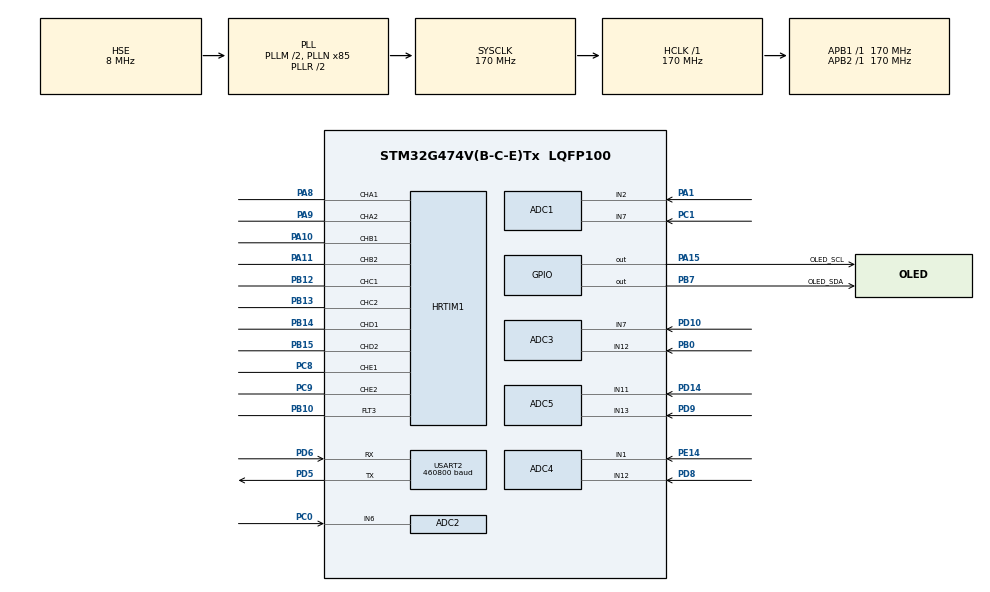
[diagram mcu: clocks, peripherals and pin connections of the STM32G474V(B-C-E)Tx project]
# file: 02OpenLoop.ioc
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ADC1.AWD1HighThreshold=4095
ADC1.AWD1ITMode=ENABLE
ADC1.AWD2HighThreshold=4095
ADC1.AWD2ITMode=ENABLE
ADC1.AWDChannel-1\#ChannelRegularConversion=ADC_CHANNEL_7
ADC1.Channel-0\#ChannelRegularConversion=ADC_CHANNEL_2
ADC1.Channel-1\#ChannelRegularConversion=ADC_CHANNEL_7
ADC1.ClockPrescaler=ADC_CLOCK_ASYNC_DIV4
ADC1.DMAContinuousRequests=ENABLE
ADC1.EOCSelection=ADC_EOC_SEQ_CONV
ADC1.EnableAnalogWatchDog1=true
ADC1.EnableAnalogWatchDog2=true
ADC1.ExternalTrigConv=ADC_EXTERNALTRIG_HRTIM_TRG1
ADC1.MonitoredBy-1\#ChannelRegularConversion=ADC_ANALOGWATCHDOG_2
ADC1.NbrOfConversion=2
ADC1.NbrOfConversionFlag=1
ADC1.OffsetNumber-0\#ChannelRegularConversion=ADC_OFFSET_NONE
ADC1.OffsetNumber-1\#ChannelRegularConversion=ADC_OFFSET_NONE
ADC1.Overrun=ADC_OVR_DATA_OVERWRITTEN
ADC1.Rank-0\#ChannelRegularConversion=1
ADC1.Rank-1\#ChannelRegularConversion=2
ADC1.RegFilteringConfig-1\#ChannelRegularConversion=ADC_AWD_FILTERING_NONE
ADC1.SamplingTime-0\#ChannelRegularConversion=ADC_SAMPLETIME_24CYCLES_5
ADC1.SamplingTime-1\#ChannelRegularConversion=ADC_SAMPLETIME_24CYCLES_5
ADC1.WDG2ChannelR2=ADC_CHANNEL_7
ADC1.WatchdogChannel=ADC_CHANNEL_2
ADC1.WatchdogMode2=ADC_ANALOGWATCHDOG_SINGLE_REGINJEC
ADC1.master=1
ADC2.AWD1HighThreshold=4095
ADC2.AWD1ITMode=ENABLE
ADC2.Channel-0\#ChannelRegularConversion=ADC_CHANNEL_6
ADC2.ClockPrescaler=ADC_CLOCK_ASYNC_DIV4
ADC2.DMAContinuousRequests=ENABLE
ADC2.EOCSelection=ADC_EOC_SEQ_CONV
ADC2.EnableAnalogWatchDog1=true
ADC2.ExternalTrigConv=ADC_EXTERNALTRIG_HRTIM_TRG1
ADC2.NbrOfConversion=1
ADC2.NbrOfConversionFlag=1
ADC2.OffsetNumber-0\#ChannelRegularConversion=ADC_OFFSET_NONE
ADC2.Overrun=ADC_OVR_DATA_OVERWRITTEN
ADC2.Rank-0\#ChannelRegularConversion=1
ADC2.SamplingTime-0\#ChannelRegularConversion=ADC_SAMPLETIME_24CYCLES_5
ADC2.WatchdogChannel=ADC_CHANNEL_6
ADC3.AWD1HighThreshold=4095
ADC3.AWD1ITMode=ENABLE
ADC3.AWD2HighThreshold=4095
ADC3.AWD2ITMode=ENABLE
ADC3.AWDChannel-2\#ChannelRegularConversion=ADC_CHANNEL_7
ADC3.Channel-0\#ChannelRegularConversion=ADC_CHANNEL_12
ADC3.Channel-2\#ChannelRegularConversion=ADC_CHANNEL_7
ADC3.ClockPrescaler=ADC_CLOCK_ASYNC_DIV4
ADC3.DMAContinuousRequests=ENABLE
ADC3.EOCSelection=ADC_EOC_SEQ_CONV
ADC3.EnableAnalogWatchDog1=true
ADC3.EnableAnalogWatchDog2=true
ADC3.ExternalTrigConv=ADC_EXTERNALTRIG_HRTIM_TRG2
ADC3.MonitoredBy-2\#ChannelRegularConversion=ADC_ANALOGWATCHDOG_2
ADC3.NbrOfConversion=2
ADC3.NbrOfConversionFlag=1
ADC3.OffsetNumber-2\#ChannelRegularConversion=ADC_OFFSET_NONE
ADC3.Overrun=ADC_OVR_DATA_OVERWRITTEN
ADC3.Rank-2\#ChannelRegularConversion=2
ADC3.RegFilteringConfig-2\#ChannelRegularConversion=ADC_AWD_FILTERING_NONE
ADC3.SamplingTime-0\#ChannelRegularConversion=ADC_SAMPLETIME_24CYCLES_5
ADC3.SamplingTime-2\#ChannelRegularConversion=ADC_SAMPLETIME_24CYCLES_5
ADC3.WDG2ChannelR2=ADC_CHANNEL_7
ADC3.WatchdogChannel=ADC_CHANNEL_12
ADC3.WatchdogMode2=ADC_ANALOGWATCHDOG_SINGLE_REGINJEC
ADC3.master=1
ADC4.AWD1HighThreshold=4095
ADC4.AWD1ITMode=ENABLE
ADC4.AWD2HighThreshold=4095
ADC4.AWD2ITMode=ENABLE
ADC4.AWDChannel-1\#ChannelRegularConversion=ADC_CHANNEL_1
ADC4.Channel-0\#ChannelRegularConversion=ADC_CHANNEL_12
ADC4.Channel-1\#ChannelRegularConversion=ADC_CHANNEL_1
ADC4.ClockPrescaler=ADC_CLOCK_ASYNC_DIV4
ADC4.DMAContinuousRequests=ENABLE
ADC4.EOCSelection=ADC_EOC_SEQ_CONV
ADC4.EnableAnalogWatchDog1=true
ADC4.EnableAnalogWatchDog2=true
ADC4.ExternalTrigConv=ADC_EXTERNALTRIG_HRTIM_TRG2
ADC4.MonitoredBy-1\#ChannelRegularConversion=ADC_ANALOGWATCHDOG_2
ADC4.NbrOfConversion=2
ADC4.NbrOfConversionFlag=1
ADC4.OffsetNumber-0\#ChannelRegularConversion=ADC_OFFSET_NONE
ADC4.OffsetNumber-1\#ChannelRegularConversion=ADC_OFFSET_NONE
ADC4.Overrun=ADC_OVR_DATA_OVERWRITTEN
ADC4.Rank-0\#ChannelRegularConversion=1
ADC4.Rank-1\#ChannelRegularConversion=2
ADC4.RegFilteringConfig-1\#ChannelRegularConversion=ADC_AWD_FILTERING_NONE
ADC4.SamplingTime-0\#ChannelRegularConversion=ADC_SAMPLETIME_24CYCLES_5
ADC4.SamplingTime-1\#ChannelRegularConversion=ADC_SAMPLETIME_24CYCLES_5
ADC4.WDG2ChannelR2=ADC_CHANNEL_1
ADC4.WatchdogChannel=ADC_CHANNEL_12
ADC4.WatchdogMode2=ADC_ANALOGWATCHDOG_SINGLE_REGINJEC
ADC5.AWD1HighThreshold=4095
ADC5.AWD1ITMode=ENABLE
ADC5.AWD2HighThreshold=4095
ADC5.AWD2ITMode=ENABLE
ADC5.AWDChannel-1\#ChannelRegularConversion=ADC_CHANNEL_11
ADC5.Channel-0\#ChannelRegularConversion=ADC_CHANNEL_13
ADC5.Channel-1\#ChannelRegularConversion=ADC_CHANNEL_11
ADC5.ClockPrescaler=ADC_CLOCK_ASYNC_DIV4
ADC5.DMAContinuousRequests=ENABLE
ADC5.EOCSelection=ADC_EOC_SEQ_CONV
ADC5.EnableAnalogWatchDog1=true
ADC5.EnableAnalogWatchDog2=true
ADC5.ExternalTrigConv=ADC_EXTERNALTRIG_HRTIM_TRG2
ADC5.MonitoredBy-1\#ChannelRegularConversion=ADC_ANALOGWATCHDOG_2
ADC5.NbrOfConversion=2
ADC5.NbrOfConversionFlag=1
ADC5.OffsetNumber-0\#ChannelRegularConversion=ADC_OFFSET_NONE
ADC5.OffsetNumber-1\#ChannelRegularConversion=ADC_OFFSET_NONE
ADC5.Overrun=ADC_OVR_DATA_OVERWRITTEN
ADC5.Rank-0\#ChannelRegularConversion=1
ADC5.Rank-1\#ChannelRegularConversion=2
ADC5.RegFilteringConfig-1\#ChannelRegularConversion=ADC_AWD_FILTERING_NONE
ADC5.SamplingTime-0\#ChannelRegularConversion=ADC_SAMPLETIME_24CYCLES_5
ADC5.SamplingTime-1\#ChannelRegularConversion=ADC_SAMPLETIME_24CYCLES_5
ADC5.WDG2ChannelR2=ADC_CHANNEL_11
ADC5.WatchdogChannel=ADC_CHANNEL_13
ADC5.WatchdogMode2=ADC_ANALOGWATCHDOG_SINGLE_REGINJEC
Dma.ADC1.0.Direction=DMA_PERIPH_TO_MEMORY
Dma.ADC1.0.EventEnable=DISABLE
Dma.ADC1.0.Instance=DMA1_Channel1
Dma.ADC1.0.MemDataAlignment=DMA_MDATAALIGN_HALFWORD
Dma.ADC1.0.MemInc=DMA_MINC_ENABLE
Dma.ADC1.0.Mode=DMA_CIRCULAR
Dma.ADC1.0.PeriphDataAlignment=DMA_PDATAALIGN_HALFWORD
Dma.ADC1.0.PeriphInc=DMA_PINC_DISABLE
Dma.ADC1.0.Polarity=HAL_DMAMUX_REQ_GEN_RISING
Dma.ADC1.0.Priority=DMA_PRIORITY_HIGH
Dma.ADC1.0.RequestNumber=1
Dma.ADC1.0.SignalID=NONE
Dma.ADC1.0.SyncEnable=DISABLE
Dma.ADC1.0.SyncPolarity=HAL_DMAMUX_SYNC_NO_EVENT
Dma.ADC1.0.SyncRequestNumber=1
Dma.ADC1.0.SyncSignalID=NONE
Dma.ADC2.1.Direction=DMA_PERIPH_TO_MEMORY
Dma.ADC2.1.EventEnable=DISABLE
Dma.ADC2.1.Instance=DMA1_Channel2
Dma.ADC2.1.MemDataAlignment=DMA_MDATAALIGN_HALFWORD
Dma.ADC2.1.MemInc=DMA_MINC_ENABLE
Dma.ADC2.1.Mode=DMA_CIRCULAR
Dma.ADC2.1.PeriphDataAlignment=DMA_PDATAALIGN_HALFWORD
Dma.ADC2.1.PeriphInc=DMA_PINC_DISABLE
Dma.ADC2.1.Polarity=HAL_DMAMUX_REQ_GEN_RISING
Dma.ADC2.1.Priority=DMA_PRIORITY_HIGH
Dma.ADC2.1.RequestNumber=1
Dma.ADC2.1.SignalID=NONE
Dma.ADC2.1.SyncEnable=DISABLE
Dma.ADC2.1.SyncPolarity=HAL_DMAMUX_SYNC_NO_EVENT
Dma.ADC2.1.SyncRequestNumber=1
Dma.ADC2.1.SyncSignalID=NONE
Dma.ADC3.4.Direction=DMA_PERIPH_TO_MEMORY
Dma.ADC3.4.EventEnable=DISABLE
Dma.ADC3.4.Instance=DMA2_Channel1
Dma.ADC3.4.MemDataAlignment=DMA_MDATAALIGN_HALFWORD
Dma.ADC3.4.MemInc=DMA_MINC_ENABLE
Dma.ADC3.4.Mode=DMA_CIRCULAR
Dma.ADC3.4.PeriphDataAlignment=DMA_PDATAALIGN_HALFWORD
Dma.ADC3.4.PeriphInc=DMA_PINC_DISABLE
Dma.ADC3.4.Polarity=HAL_DMAMUX_REQ_GEN_RISING
Dma.ADC3.4.Priority=DMA_PRIORITY_HIGH
Dma.ADC3.4.RequestNumber=1
Dma.ADC3.4.SignalID=NONE
Dma.ADC3.4.SyncEnable=DISABLE
Dma.ADC3.4.SyncPolarity=HAL_DMAMUX_SYNC_NO_EVENT
Dma.ADC3.4.SyncRequestNumber=1
Dma.ADC3.4.SyncSignalID=NONE
Dma.ADC4.2.Direction=DMA_PERIPH_TO_MEMORY
Dma.ADC4.2.EventEnable=DISABLE
Dma.ADC4.2.Instance=DMA2_Channel2
Dma.ADC4.2.MemDataAlignment=DMA_MDATAALIGN_HALFWORD
Dma.ADC4.2.MemInc=DMA_MINC_ENABLE
Dma.ADC4.2.Mode=DMA_CIRCULAR
Dma.ADC4.2.PeriphDataAlignment=DMA_PDATAALIGN_HALFWORD
Dma.ADC4.2.PeriphInc=DMA_PINC_DISABLE
Dma.ADC4.2.Polarity=HAL_DMAMUX_REQ_GEN_RISING
Dma.ADC4.2.Priority=DMA_PRIORITY_HIGH
Dma.ADC4.2.RequestNumber=1
Dma.ADC4.2.SignalID=NONE
Dma.ADC4.2.SyncEnable=DISABLE
Dma.ADC4.2.SyncPolarity=HAL_DMAMUX_SYNC_NO_EVENT
Dma.ADC4.2.SyncRequestNumber=1
Dma.ADC4.2.SyncSignalID=NONE
Dma.ADC5.3.Direction=DMA_PERIPH_TO_MEMORY
Dma.ADC5.3.EventEnable=DISABLE
Dma.ADC5.3.Instance=DMA2_Channel3
Dma.ADC5.3.MemDataAlignment=DMA_MDATAALIGN_HALFWORD
Dma.ADC5.3.MemInc=DMA_MINC_ENABLE
Dma.ADC5.3.Mode=DMA_CIRCULAR
Dma.ADC5.3.PeriphDataAlignment=DMA_PDATAALIGN_HALFWORD
Dma.ADC5.3.PeriphInc=DMA_PINC_DISABLE
Dma.ADC5.3.Polarity=HAL_DMAMUX_REQ_GEN_RISING
Dma.ADC5.3.Priority=DMA_PRIORITY_HIGH
Dma.ADC5.3.RequestNumber=1
Dma.ADC5.3.SignalID=NONE
Dma.ADC5.3.SyncEnable=DISABLE
Dma.ADC5.3.SyncPolarity=HAL_DMAMUX_SYNC_NO_EVENT
Dma.ADC5.3.SyncRequestNumber=1
Dma.ADC5.3.SyncSignalID=NONE
Dma.Request0=ADC1
Dma.Request1=ADC2
Dma.Request2=ADC4
Dma.Request3=ADC5
Dma.Request4=ADC3
HRTIM1.ADCTrigger1_Source1=HRTIM_ADCTRIGGEREVENT13_MASTER_CMP2
HRTIM1.ADCTrigger2_Source1=HRTIM_ADCTRIGGEREVENT24_MASTER_CMP2
HRTIM1.ADCTrigger_Id1=HRTIM_ADCTRIGGER_1
HRTIM1.ADCTrigger_Id2=HRTIM_ADCTRIGGER_2
HRTIM1.BlankingSourceFaultLine3=__NULL
HRTIM1.Bmrom_TA=HRTIM_TIM_BMROM_BOTH
HRTIM1.Bmrom_TB=HRTIM_TIM_BMROM_BOTH
HRTIM1.Bmrom_TC=HRTIM_TIM_BMROM_BOTH
HRTIM1.Bmrom_TD=HRTIM_TIM_BMROM_BOTH
HRTIM1.Bmrom_TE=HRTIM_TIM_BMROM_BOTH
HRTIM1.CompareUnit1-MasterTimer=__NULL
HRTIM1.CompareUnit1-Output_TA1TA2=HRTIM_COMPAREUNIT_1
HRTIM1.CompareUnit1-Output_TB1TB2=HRTIM_COMPAREUNIT_1
HRTIM1.CompareUnit1-Output_TC1TC2=HRTIM_COMPAREUNIT_1
HRTIM1.CompareUnit1-Output_TD1TD2=HRTIM_COMPAREUNIT_1
HRTIM1.CompareUnit1-Output_TE1TE2=HRTIM_COMPAREUNIT_1
HRTIM1.CompareUnit2-MasterTimer=HRTIM_COMPAREUNIT_2
HRTIM1.CompareValue1-Output_TA1TA2=17000
HRTIM1.CompareValue1-Output_TB1TB2=17000
HRTIM1.CompareValue1-Output_TC1TC2=17000
HRTIM1.CompareValue1-Output_TD1TD2=17000
HRTIM1.CompareValue1-Output_TE1TE2=17000
HRTIM1.CompareValue2-MasterTimer=17000
HRTIM1.DeadTimeInsertion-Output_TA1TA2=HRTIM_TIMDEADTIMEINSERTION_ENABLED
HRTIM1.DeadTimeInsertion-Output_TB1TB2=HRTIM_TIMDEADTIMEINSERTION_ENABLED
HRTIM1.DeadTimeInsertion-Output_TC1TC2=HRTIM_TIMDEADTIMEINSERTION_ENABLED
HRTIM1.DeadTimeInsertion-Output_TD1TD2=HRTIM_TIMDEADTIMEINSERTION_ENABLED
HRTIM1.DeadTimeInsertion-Output_TE1TE2=HRTIM_TIMDEADTIMEINSERTION_ENABLED
HRTIM1.FallingValue-Output_TA1TA2=85
HRTIM1.FallingValue-Output_TB1TB2=85
HRTIM1.FallingValue-Output_TC1TC2=85
HRTIM1.FallingValue-Output_TD1TD2=85
HRTIM1.FallingValue-Output_TE1TE2=85
HRTIM1.FaultEnable_Source1-Output_TA1TA2=HRTIM_TIMFAULTENABLE_FAULT3
HRTIM1.FaultEnable_Source1-Output_TB1TB2=HRTIM_TIMFAULTENABLE_FAULT3
HRTIM1.FaultEnable_Source1-Output_TC1TC2=HRTIM_TIMFAULTENABLE_FAULT3
HRTIM1.FaultEnable_Source1-Output_TD1TD2=HRTIM_TIMFAULTENABLE_FAULT3
HRTIM1.FaultEnable_Source1-Output_TE1TE2=HRTIM_TIMFAULTENABLE_FAULT3
HRTIM1.FaultLevel1-Output_TA1TA2=HRTIM_OUTPUTFAULTLEVEL_INACTIVE
HRTIM1.FaultLevel1-Output_TB1TB2=HRTIM_OUTPUTFAULTLEVEL_INACTIVE
HRTIM1.FaultLevel1-Output_TC1TC2=HRTIM_OUTPUTFAULTLEVEL_INACTIVE
HRTIM1.FaultLevel1-Output_TD1TD2=HRTIM_OUTPUTFAULTLEVEL_INACTIVE
HRTIM1.FaultLevel1-Output_TE1TE2=HRTIM_OUTPUTFAULTLEVEL_INACTIVE
HRTIM1.FaultLevel2-Output_TA1TA2=HRTIM_OUTPUTFAULTLEVEL_INACTIVE
HRTIM1.FaultLevel2-Output_TB1TB2=HRTIM_OUTPUTFAULTLEVEL_INACTIVE
HRTIM1.FaultLevel2-Output_TC1TC2=HRTIM_OUTPUTFAULTLEVEL_INACTIVE
HRTIM1.FaultLevel2-Output_TD1TD2=HRTIM_OUTPUTFAULTLEVEL_INACTIVE
HRTIM1.FaultLevel2-Output_TE1TE2=HRTIM_OUTPUTFAULTLEVEL_INACTIVE
HRTIM1.Fault_Line3=HRTIM_FAULT_3
HRTIM1.Ferom_TA=HRTIM_TIM_FEROM_BOTH
HRTIM1.Ferom_TB=HRTIM_TIM_FEROM_BOTH
HRTIM1.Ferom_TC=HRTIM_TIM_FEROM_BOTH
HRTIM1.Ferom_TD=HRTIM_TIM_FEROM_BOTH
HRTIM1.Ferom_TE=HRTIM_TIM_FEROM_BOTH
HRTIM1.HRTIMInterruptResquests1=HRTIM_IT_FLT3
HRTIM1.NumberADCTriggerSource1=1
HRTIM1.NumberADCTriggerSource2=1
HRTIM1.NumberFaultEnable-Output_TA1TA2=1
HRTIM1.NumberFaultEnable-Output_TB1TB2=1
HRTIM1.NumberFaultEnable-Output_TC1TC2=1
HRTIM1.NumberFaultEnable-Output_TD1TD2=1
HRTIM1.NumberFaultEnable-Output_TE1TE2=1
HRTIM1.NumberResetSource1-Output_TA1TA2=1
HRTIM1.NumberResetSource1-Output_TB1TB2=1
HRTIM1.NumberResetSource1-Output_TC1TC2=1
HRTIM1.NumberResetSource1-Output_TD1TD2=1
HRTIM1.NumberResetSource1-Output_TE1TE2=1
HRTIM1.NumberSetSource1-Output_TA1TA2=1
HRTIM1.NumberSetSource1-Output_TB1TB2=1
HRTIM1.NumberSetSource1-Output_TC1TC2=1
HRTIM1.NumberSetSource1-Output_TD1TD2=1
HRTIM1.NumberSetSource1-Output_TE1TE2=1
HRTIM1.NumberUpdateTrigger-Output_TA1TA2=0
HRTIM1.Outrom_TA=HRTIM_TIM_OUTROM_VALLEY
HRTIM1.Outrom_TB=HRTIM_TIM_OUTROM_VALLEY
HRTIM1.Outrom_TC=HRTIM_TIM_OUTROM_VALLEY
HRTIM1.Outrom_TD=HRTIM_TIM_OUTROM_VALLEY
HRTIM1.Outrom_TE=HRTIM_TIM_OUTROM_VALLEY
HRTIM1.Periode_MASTER=34000
HRTIM1.Periode_TA=34000
HRTIM1.Periode_TB=34000
HRTIM1.Periode_TC=34000
HRTIM1.Periode_TD=34000
HRTIM1.Periode_TE=34000
HRTIM1.Polarity_FaultLine3=HRTIM_FAULTPOLARITY_LOW
HRTIM1.PreloadEnable-Output_TA1TA2=HRTIM_PRELOAD_ENABLED
HRTIM1.PreloadEnable-Output_TB1TB2=HRTIM_PRELOAD_ENABLED
HRTIM1.PreloadEnable-Output_TC1TC2=HRTIM_PRELOAD_ENABLED
HRTIM1.PreloadEnable-Output_TD1TD2=HRTIM_PRELOAD_ENABLED
HRTIM1.PreloadEnable-Output_TE1TE2=HRTIM_PRELOAD_ENABLED
HRTIM1.PrescalerDead-Output_TA1TA2=HRTIM_TIMDEADTIME_PRESCALERRATIO_DIV1
HRTIM1.PrescalerDead-Output_TB1TB2=HRTIM_TIMDEADTIME_PRESCALERRATIO_DIV1
HRTIM1.PrescalerDead-Output_TC1TC2=HRTIM_TIMDEADTIME_PRESCALERRATIO_DIV1
HRTIM1.PrescalerDead-Output_TD1TD2=HRTIM_TIMDEADTIME_PRESCALERRATIO_DIV1
HRTIM1.PrescalerDead-Output_TE1TE2=HRTIM_TIMDEADTIME_PRESCALERRATIO_DIV1
HRTIM1.PrescalerRatio_MASTER=HRTIM_PRESCALERRATIO_MUL2
HRTIM1.PrescalerRatio_TA=HRTIM_PRESCALERRATIO_MUL4
HRTIM1.PrescalerRatio_TB=HRTIM_PRESCALERRATIO_MUL4
HRTIM1.PrescalerRatio_TC=HRTIM_PRESCALERRATIO_MUL4
HRTIM1.PrescalerRatio_TD=HRTIM_PRESCALERRATIO_MUL4
HRTIM1.PrescalerRatio_TE=HRTIM_PRESCALERRATIO_MUL4
HRTIM1.RepetitionCounter-MasterTimer=0
HRTIM1.RepetitionCounter-Output_TA1TA2=0
HRTIM1.RepetitionCounter-Output_TB1TB2=0
HRTIM1.RepetitionCounter-Output_TC1TC2=0
HRTIM1.RepetitionCounter-Output_TD1TD2=0
HRTIM1.RepetitionCounter-Output_TE1TE2=0
HRTIM1.RepetitionUpdate-Output_TA1TA2=HRTIM_UPDATEONREPETITION_ENABLED
HRTIM1.RepetitionUpdate-Output_TB1TB2=HRTIM_UPDATEONREPETITION_ENABLED
HRTIM1.RepetitionUpdate-Output_TC1TC2=HRTIM_UPDATEONREPETITION_ENABLED
HRTIM1.RepetitionUpdate-Output_TD1TD2=HRTIM_UPDATEONREPETITION_ENABLED
HRTIM1.RepetitionUpdate-Output_TE1TE2=HRTIM_UPDATEONREPETITION_ENABLED
HRTIM1.ResetOutput1_Source1-Output_TA1TA2=HRTIM_OUTPUTRESET_TIMCMP1
HRTIM1.ResetOutput1_Source1-Output_TB1TB2=HRTIM_OUTPUTRESET_TIMCMP1
HRTIM1.ResetOutput1_Source1-Output_TC1TC2=HRTIM_OUTPUTRESET_TIMCMP1
HRTIM1.ResetOutput1_Source1-Output_TD1TD2=HRTIM_OUTPUTRESET_TIMCMP1
HRTIM1.ResetOutput1_Source1-Output_TE1TE2=HRTIM_OUTPUTRESET_TIMCMP1
HRTIM1.RisingValue-Output_TA1TA2=85
HRTIM1.RisingValue-Output_TB1TB2=85
HRTIM1.RisingValue-Output_TC1TC2=85
HRTIM1.RisingValue-Output_TD1TD2=85
HRTIM1.RisingValue-Output_TE1TE2=85
HRTIM1.SetOutput1_Source1-Output_TA1TA2=HRTIM_OUTPUTSET_TIMCMP1
HRTIM1.SetOutput1_Source1-Output_TB1TB2=HRTIM_OUTPUTSET_TIMCMP1
HRTIM1.SetOutput1_Source1-Output_TC1TC2=HRTIM_OUTPUTSET_TIMCMP1
HRTIM1.SetOutput1_Source1-Output_TD1TD2=HRTIM_OUTPUTSET_TIMCMP1
HRTIM1.SetOutput1_Source1-Output_TE1TE2=HRTIM_OUTPUTSET_TIMCMP1
HRTIM1.UpDownMode-Output_TA1TA2=HRTIM_TIMERUPDOWNMODE_UPDOWN
HRTIM1.UpDownMode-Output_TB1TB2=HRTIM_TIMERUPDOWNMODE_UPDOWN
HRTIM1.UpDownMode-Output_TC1TC2=HRTIM_TIMERUPDOWNMODE_UPDOWN
HRTIM1.UpDownMode-Output_TD1TD2=HRTIM_TIMERUPDOWNMODE_UPDOWN
HRTIM1.UpDownMode-Output_TE1TE2=HRTIM_TIMERUPDOWNMODE_UPDOWN
HRTIM1.postscaler1=0
HRTIM1.postscaler2=0
HRTIM1.rom_TA=HRTIM_TIM_ROM_VALLEY
HRTIM1.rom_TB=HRTIM_TIM_ROM_VALLEY
HRTIM1.rom_TC=HRTIM_TIM_ROM_VALLEY
HRTIM1.rom_TD=HRTIM_TIM_ROM_VALLEY
HRTIM1.rom_TE=HRTIM_TIM_ROM_VALLEY
IWDG.Prescaler=IWDG_PRESCALER_64
IWDG.Reload=249
Mcu.Family=STM32G4
Mcu.Name=STM32G474V(B-C-E)Tx
Mcu.Package=LQFP100
NVIC.ADC1_2_IRQn=true\:1\:0\:true\:false\:true\:true\:true\:true
NVIC.ADC3_IRQn=true\:1\:0\:true\:false\:true\:true\:true\:true
NVIC.ADC4_IRQn=true\:1\:0\:true\:false\:true\:true\:true\:true
NVIC.ADC5_IRQn=true\:1\:0\:true\:false\:true\:true\:true\:true
NVIC.DMA1_Channel1_IRQn=true\:2\:0\:true\:false\:true\:false\:true\:true
NVIC.DMA1_Channel2_IRQn=true\:1\:0\:true\:false\:true\:false\:true\:true
NVIC.DMA2_Channel1_IRQn=true\:1\:0\:true\:false\:true\:false\:true\:true
NVIC.DMA2_Channel2_IRQn=true\:1\:0\:true\:false\:true\:false\:true\:true
NVIC.DMA2_Channel3_IRQn=true\:1\:0\:true\:false\:true\:false\:true\:true
NVIC.HRTIM1_FLT_IRQn=true\:0\:0\:false\:false\:true\:true\:true\:true
NVIC.PriorityGroup=NVIC_PRIORITYGROUP_4
PA1.Mode=IN2-Single-Ended
PA1.Signal=ADC1_IN2
PA10.Mode=Output_TB1TB2
PA10.Signal=HRTIM1_CHB1
PA11.Mode=Output_TB1TB2
PA11.Signal=HRTIM1_CHB2
PA13.Mode=Serial_Wire
PA13.Signal=SYS_JTMS-SWDIO
PA14.Mode=Serial_Wire
PA14.Signal=SYS_JTCK-SWCLK
PA15.GPIO_Label=OLED_SCL
PA15.GPIO_ModeDefaultOutputPP=GPIO_MODE_OUTPUT_PP
PA15.GPIO_PuPd=GPIO_NOPULL
PA15.GPIO_Speed=GPIO_SPEED_FREQ_HIGH
PA15.Signal=GPIO_Output
PA8.Mode=Output_TA1TA2
PA8.Signal=HRTIM1_CHA1
PA9.Mode=Output_TA1TA2
PA9.Signal=HRTIM1_CHA2
PB0.Mode=IN12-Single-Ended
PB0.Signal=ADC3_IN12
PB10.GPIO_PuPd=GPIO_PULLUP
PB10.Mode=Fault_Enable3
PB10.Signal=HRTIM1_FLT3
PB12.Mode=Output_TC1TC2
PB12.Signal=HRTIM1_CHC1
PB13.Mode=Output_TC1TC2
PB13.Signal=HRTIM1_CHC2
PB14.Mode=Output_TD1TD2
PB14.Signal=HRTIM1_CHD1
PB15.Mode=Output_TD1TD2
PB15.Signal=HRTIM1_CHD2
PB7.GPIO_Label=OLED_SDA
PB7.GPIO_ModeDefaultOutputPP=GPIO_MODE_OUTPUT_OD
PB7.GPIO_PuPd=GPIO_NOPULL
PB7.GPIO_Speed=GPIO_SPEED_FREQ_HIGH
PB7.Signal=GPIO_Output
PC0.Mode=IN6-Single-Ended
PC0.Signal=ADC2_IN6
PC1.Mode=IN7-Single-Ended
PC1.Signal=ADC1_IN7
PC8.Mode=Output_TE1TE2
PC8.Signal=HRTIM1_CHE1
PC9.Mode=Output_TE1TE2
PC9.Signal=HRTIM1_CHE2
PD10.Mode=IN7-Single-Ended
PD10.Signal=ADC3_IN7
PD14.Mode=IN11-Single-Ended
PD14.Signal=ADC5_IN11
PD5.Mode=Asynchronous
PD5.Signal=USART2_TX
PD6.Mode=Asynchronous
PD6.Signal=USART2_RX
PD8.Mode=IN12-Single-Ended
PD8.Signal=ADC4_IN12
PD9.Mode=IN13-Single-Ended
PD9.Signal=ADC5_IN13
PE14.Mode=IN1-Single-Ended
PE14.Signal=ADC4_IN1
PF0-OSC_IN.Mode=HSE-External-Oscillator
PF0-OSC_IN.Signal=RCC_OSC_IN
PF1-OSC_OUT.Mode=HSE-External-Oscillator
PF1-OSC_OUT.Signal=RCC_OSC_OUT
ProjectManager.HeapSize=0x200
ProjectManager.StackSize=0x400
ProjectManager.TargetToolchain=MDK-ARM V5.32
RCC.ADC12Freq_Value=170000000
RCC.ADC345Freq_Value=170000000
RCC.AHBFreq_Value=170000000
RCC.APB1Freq_Value=170000000
RCC.APB1TimFreq_Value=170000000
RCC.APB2Freq_Value=170000000
RCC.APB2TimFreq_Value=170000000
RCC.CortexFreq_Value=170000000
RCC.EXTERNAL_CLOCK_VALUE=12288000
RCC.EnbaleCSS=true
RCC.HCLKFreq_Value=170000000
RCC.HSE_VALUE=8000000
RCC.HSI48_VALUE=48000000
RCC.HSI_VALUE=16000000
RCC.LSE_VALUE=32768
RCC.PLLM=RCC_PLLM_DIV2
RCC.PLLN=85
RCC.PLLSourceVirtual=RCC_PLLSOURCE_HSE
RCC.SYSCLKFreq_VALUE=170000000
RCC.SYSCLKSource=RCC_SYSCLKSOURCE_PLLCLK
RCC.USBFreq_Value=170000000
RCC.VCOOutputFreq_Value=340000000
USART2.BaudRate=460800
USART2.VirtualMode-Asynchronous=VM_ASYNC
VP_HRTIM1_VS_hrtimMasterTimerNoOutput.Mode=MasterTimer
VP_IWDG_VS_IWDG.Mode=IWDG_Activate
VP_SYS_VS_DBSignals.Mode=DisableDeadBatterySignals
board=custom

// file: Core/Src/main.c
/* USER CODE BEGIN Header */
/**
  ******************************************************************************
  * @file           : main.c
  * @brief          : Main program body
  ******************************************************************************
  * @attention
  *
  * Copyright (c) 2026 STMicroelectronics.
  * All rights reserved.
  *
  * This software is licensed under terms that can be found in the LICENSE file
  * in the root directory of this software component.
  * If no LICENSE file comes with this software, it is provided AS-IS.
  *
  ******************************************************************************
  */
/* USER CODE END Header */
#include "main.h"
#include "adc.h"
#include "dma.h"
#include "hrtim.h"
#include "usart.h"
#include "gpio.h"

/* USER CODE BEGIN Includes */
#include "OLED.h"
#include "CBSVPWM.h"
#include "inv_hrtim.h"
#include "inv_measure.h"
#include "inv_open_loop.h"
#include "inv_user_config.h"
#include "iwdg.h"
#include "vofa.h"
/* USER CODE END Includes */

/* USER CODE BEGIN PTD */

/**
 * @brief 逆变开环验证状态。
 * @note 状态由初始化主流程和10 kHz控制回调更新，Keil Watch只读观察。
 */
typedef enum
{
  INV_STATE_SAFE = 0U,
  INV_STATE_ADC_CALIBRATION,
  INV_STATE_ADC_OFFSET,
  INV_STATE_READY,
  INV_STATE_SOFT_START,
  INV_STATE_RUNNING,
  INV_STATE_FAULT_LATCH
} INV_AppState;

/* USER CODE END PTD */

/* USER CODE BEGIN PD */

/*
 * 所有日常模式、开环命令和ADC标定参数均集中在inv_user_config.h。
 * main.c只消费已经命名的用户参数，不再保留第二套可调常量。
 */

#if ((INV_USER_WORK_MODE != INV_MODE_ADC_CALIBRATION) && \
     (INV_USER_WORK_MODE != INV_MODE_PWM_WAVEFORM) && \
     (INV_USER_WORK_MODE != INV_MODE_OPEN_LOOP))
#error "INV_USER_WORK_MODE must select one INV_MODE_* value"
#endif

#if ((INV_USER_OUTPUT_FREQUENCY != 30U) && (INV_USER_OUTPUT_FREQUENCY != 60U))
#error "INV_USER_OUTPUT_FREQUENCY must be 30 or 60 Hz"
#endif

#if ((INV_USER_CALIBRATION_STEP != INV_CAL_STEP_ZERO) && \
     (INV_USER_CALIBRATION_STEP != INV_CAL_STEP_GAIN))
#error "INV_USER_CALIBRATION_STEP must be ZERO or GAIN"
#endif

#if (INV_USER_OUTPUT_FREQUENCY == 30U)
#define INV_SELECTED_FREQUENCY INV_FREQ_30HZ
#else
#define INV_SELECTED_FREQUENCY INV_FREQ_60HZ
#endif

#if (INV_USER_WORK_MODE == INV_MODE_ADC_CALIBRATION)
  #if (INV_USER_CALIBRATION_STEP == INV_CAL_STEP_ZERO)
    #define INV_SELECTED_MEASURE_MODE INV_MEASURE_CALIBRATE_ZERO
  #else
    #define INV_SELECTED_MEASURE_MODE INV_MEASURE_CALIBRATE_GAIN
  #endif
#else
  #define INV_SELECTED_MEASURE_MODE INV_MEASURE_RUN_AUTO_OFFSET
#endif

/* USER CODE END PD */

/* USER CODE BEGIN PV */

/*
 * VOFA发送固定为8通道。开环/波形模式发送U相参考、六路ADC快照和故障；
 * 标定模式发送六路原始码、推荐比例和故障，具体映射见主循环分支。
 */
static float vofa_data[VOFA_MAX_CHANNELS] = {0.0f};

/* 供Keil Watch观察串口HAL调用结果；通信失败不触发功率故障。 */
static uint32_t vofa_tx_ok_count = 0U;
static uint32_t vofa_tx_error_count = 0U;

/*
 * 由inv_user_config.h构造的开环参数对象。后续改为赛题32 Vrms时，应同时
 * 引入实测VBUS并重新校核调制度，不能只修改目标线电压一个字段。
 */
#if (INV_USER_WORK_MODE != INV_MODE_ADC_CALIBRATION)
static const INV_OpenLoopConfig inv_open_loop_config =
{
  INV_USER_DC_BUS_V,
  INV_USER_LINE_RMS_V,
  INV_SELECTED_FREQUENCY,
  INV_USER_MODULATION_LIMIT,
  INV_USER_SOFT_START_MS,
  INV_USER_CONTROL_FREQUENCY_HZ
};
#endif

/*
 * ADC配置由唯一用户头文件构造。数组固定顺序为
 * IU、IV、IW、VUV、VVW、VWU，与INV_CalibrationResult完全一致。
 */
static const INV_MeasureConfig inv_measure_config =
{
  INV_SELECTED_MEASURE_MODE,
  INV_USER_OFFSET_SAMPLES,
  INV_USER_GAIN_SAMPLES,
  INV_USER_CAL_MIN_DELTA_COUNTS,
  {
    INV_USER_IU_OFFSET, INV_USER_IV_OFFSET, INV_USER_IW_OFFSET,
    INV_USER_VUV_OFFSET, INV_USER_VVW_OFFSET, INV_USER_VWU_OFFSET
  },
  {
    INV_USER_IU_SCALE_A_PER_COUNT,
    INV_USER_IV_SCALE_A_PER_COUNT,
    INV_USER_IW_SCALE_A_PER_COUNT,
    INV_USER_VUV_SCALE_V_PER_COUNT,
    INV_USER_VVW_SCALE_V_PER_COUNT,
    INV_USER_VWU_SCALE_V_PER_COUNT
  },
  INV_USER_CALIBRATION_CHANNEL,
  INV_USER_CALIBRATION_REFERENCE,
  INV_USER_ADC_MAX_SKEW_FRAMES,
  INV_USER_ADC_RAIL_LOW_COUNT,
  INV_USER_ADC_RAIL_HIGH_COUNT,
  INV_USER_ADC_RAIL_CONFIRM_FRAMES
};

/* 以下非static调试量可直接加入Keil Watch；ISR写入，调试器只读观察。 */
/* CBSVPWM运行对象保留归一化、零序注入、限幅和最终占空比中间量。 */
CBSVPWM_t inv_svpwm;

/*
 * U相参考、当前频率、控制心跳和最坏周期数由10 kHz DMA控制路径更新。
 * volatile只阻止编译器省略访问，不提供跨ISR结构体一致性；后台任务仍读取模块快照。
 */
volatile float inv_sine_u = 0.0f;
volatile uint16_t inv_output_frequency_hz = 60U;
volatile uint32_t inv_control_heartbeat = 0U;
uint32_t inv_control_max_cycles = 0U;
#if (INV_USER_WORK_MODE != INV_MODE_ADC_CALIBRATION)
static uint32_t inv_limited_frames = 0U;
#endif

/* 当前编译模式可直接加入Keil Watch，值0/1/2分别对应配置头文件三种模式。 */
const uint8_t inv_work_mode = INV_USER_WORK_MODE;

/* 应用状态可直接加入Keil Watch；只有SOFT_START/RUNNING允许更新PWM比较值。 */
volatile INV_AppState inv_state = INV_STATE_SAFE;

/* USER CODE END PV */

void SystemClock_Config(void);
/* USER CODE BEGIN PFP */

static void INV_AppTrip(uint32_t fault_bits);
#if (INV_USER_WORK_MODE != INV_MODE_ADC_CALIBRATION)
static void INV_AppRunFastControl(const INV_Measurement *measurement);
#endif
#if (INV_USER_WORK_MODE != INV_MODE_PWM_WAVEFORM)
static HAL_StatusTypeDef INV_TestWaitForSamplingReady(void);
#endif
#if (INV_USER_WORK_MODE != INV_MODE_ADC_CALIBRATION)
static HAL_StatusTypeDef INV_OpenLoopStartOutputs(void);
#endif
static void INV_TestDwtInit(void);

/* USER CODE END PFP */

/* USER CODE BEGIN 0 */

/**
 * @brief 统一锁存故障并立即撤销六路PWM输出。
 * @param fault_bits INV_FaultMask位组合，0输入不会清除已有故障。
 * @note 允许从ISR调用；只执行寄存器/HAL非阻塞关断和软件状态复位，
 *       不发送USART、不刷新OLED，也不允许自动重新开放PWM。
 */
static void INV_AppTrip(uint32_t fault_bits)
{
  INV_HRTIM_DisableOutputs();
  INV_Measure_LatchFault(fault_bits);
  INV_OpenLoop_Reset();
  CBSVPWM_Reset(&inv_svpwm);
  inv_state = INV_STATE_FAULT_LATCH;
}

/**
 * @brief 等待ADC3/4/5完成当前模式要求的零点或单通道增益采集。
 * @retval HAL_OK表示同步采样和当前标定步骤完成；超时或故障返回HAL_ERROR。
 *
 * 此时Master和Timer C/D/E只产生HRTIM Trigger 2，六路PWM输出保持关闭。
 * 等待上限由INV_USER_STARTUP_TIMEOUT_MS配置；10 kHz下256帧约25.6 ms。
 */
#if (INV_USER_WORK_MODE != INV_MODE_PWM_WAVEFORM)
static HAL_StatusTypeDef INV_TestWaitForSamplingReady(void)
{
  /* 两个快照均由ISR发布，本函数只在PWM关闭的启动阶段轮询。 */
  uint32_t start_tick = HAL_GetTick();
  INV_Measurement measurement;
  INV_CalibrationResult calibration;

  while ((HAL_GetTick() - start_tick) < INV_USER_STARTUP_TIMEOUT_MS)
  {
    INV_Measure_GetSnapshot(&measurement);
    INV_Measure_GetCalibrationResult(&calibration);

    if (measurement.fault_bits != INV_FAULT_NONE)
    {
      return HAL_ERROR;
    }

#if (INV_USER_WORK_MODE == INV_MODE_ADC_CALIBRATION)
    if (calibration.complete != 0U)
    {
      return HAL_OK;
    }
#else
    if ((measurement.offset_ready != 0U) && (measurement.valid != 0U))
    {
      return HAL_OK;
    }
#endif
  }

  INV_AppTrip(INV_FAULT_ADC_SYNC);
  return HAL_TIMEOUT;
}
#endif

/**
 * @brief 检查PB10/FLT3，并按编译开关决定是否开放C/D/E六路PWM。
 * @retval HAL_OK 启动条件满足；HAL_ERROR表示Fault有效或HRTIM启动失败。
 * @note 当前板没有PE Gate Enable或PE6 nFAULT输入。PB10若未连接真实故障源，
 *       只能用于人工拉低验证，不能等同于驱动器DESAT/OCP保护。
 */
#if (INV_USER_WORK_MODE != INV_MODE_ADC_CALIBRATION)
static HAL_StatusTypeDef INV_OpenLoopStartOutputs(void)
{
  if ((HAL_GPIO_ReadPin(GPIOB, GPIO_PIN_10) == GPIO_PIN_RESET) ||
      (__HAL_HRTIM_GET_FLAG(&hhrtim1, HRTIM_FLAG_FLT3) != RESET))
  {
    return HAL_ERROR;
  }

  /* 三相先写入50%中性占空比，再统一开放输出，避免启动瞬间出现旧比较值。 */
  if (INV_HRTIM_SetDuty(0.5f, 0.5f, 0.5f) != HAL_OK)
  {
    return HAL_ERROR;
  }

#if (INV_USER_ENABLE_PWM_OUTPUT != 0U)
  return INV_HRTIM_EnableOutputs();
#else
  /* 示波器安全模式仍运行ADC、DDS和比较值更新，但物理PWM引脚保持关闭。 */
  return HAL_OK;
#endif
}
#endif

/** @brief 开启DWT周期计数器，用于测量10 kHz控制路径最坏执行时间。 */
static void INV_TestDwtInit(void)
{
  CoreDebug->DEMCR |= CoreDebug_DEMCR_TRCENA_Msk;
  DWT->CYCCNT = 0U;
  DWT->CTRL |= DWT_CTRL_CYCCNTENA_Msk;
}

/**
 * @brief 在一个新六通道同步帧到达后执行一次DDS、CBSVPWM和HRTIM更新。
 * @param measurement 本次ADC同步帧，只用于有效性检查，不直接读取DMA数组。
 * @note  本函数运行于DMA中断上下文，禁止阻塞HAL、OLED、USART和HAL_Delay()。
 */
#if (INV_USER_WORK_MODE != INV_MODE_ADC_CALIBRATION)
static void INV_AppRunFastControl(const INV_Measurement *measurement)
{
  INV_OpenLoopOutput reference;
  uint32_t start_cycles;
  uint32_t elapsed_cycles;

#if (INV_USER_WORK_MODE == INV_MODE_PWM_WAVEFORM)
  /* 波形模式不使用采样值，ADC3 DMA只提供10 kHz确定节拍。 */
  (void)measurement;
#else
  if ((measurement == NULL) ||
      (measurement->valid == 0U) ||
      (measurement->fault_bits != INV_FAULT_NONE))
  {
    return;
  }
#endif

  if ((inv_state != INV_STATE_SOFT_START) &&
      (inv_state != INV_STATE_RUNNING))
  {
    return;
  }

  start_cycles = DWT->CYCCNT;
  if (!INV_OpenLoop_Step(&reference))
  {
    INV_AppTrip(INV_FAULT_PARAMETER);
    return;
  }

  inv_sine_u = reference.sine_u;
  inv_output_frequency_hz = reference.frequency_hz;

  if (CBSVPWM_Calc3Leg(&inv_svpwm,
                       reference.vu_command,
                       reference.vv_command,
                       reference.vw_command,
                       reference.dc_bus_v) == 0U)
  {
    INV_AppTrip(INV_FAULT_CBSVPWM);
    return;
  }

  if (inv_svpwm.limited != 0U) {
    inv_limited_frames++;
    if (inv_limited_frames >= INV_USER_LIMITED_MAX_FRAMES) {
      INV_AppTrip(INV_FAULT_CBSVPWM);
      return;
    }
  } else {
    inv_limited_frames = 0U;
  }

  /* Fault 0级中断可能抢占本控制ISR；恢复后必须复查，禁止继续写比较值。 */
  if ((inv_state == INV_STATE_FAULT_LATCH) ||
      (INV_Measure_GetFault() != INV_FAULT_NONE))
  {
    return;
  }

  if (INV_HRTIM_SetDuty(inv_svpwm.duty_u,
                        inv_svpwm.duty_v,
                        inv_svpwm.duty_w) != HAL_OK)
  {
    INV_AppTrip(INV_FAULT_PWM_COMMAND);
    return;
  }

  inv_control_heartbeat++;
  if (reference.ramp >= 1.0f)
  {
    inv_state = INV_STATE_RUNNING;
  }
  elapsed_cycles = DWT->CYCCNT - start_cycles;
  if (elapsed_cycles > inv_control_max_cycles) {
    inv_control_max_cycles = elapsed_cycles;
  }
}
#endif

/* USER CODE END 0 */

int main(void)
{

  /* MCU Configuration--------------------------------------------------------*/

  /* Reset of all peripherals, Initializes the Flash interface and the Systick. */
  HAL_Init();

  /* Configure the system clock */
  SystemClock_Config();

  /* Initialize all configured peripherals */
  MX_GPIO_Init();
  MX_DMA_Init();
  MX_HRTIM1_Init();
  MX_ADC1_Init();
  MX_ADC2_Init();
  MX_USART2_UART_Init();
  MX_ADC3_Init();
  MX_ADC4_Init();
  MX_ADC5_Init();
  /* USER CODE BEGIN 2 */

  /* 任何模块初始化前先撤销C/D/E输出；当前IOC中PE0～PE6均不参与控制。 */
  INV_HRTIM_DisableOutputs();
  inv_state = INV_STATE_SAFE;

  /*
   * 上电后只在初始化阶段等待一次，使OLED内部电源和电荷泵稳定。
   * 禁止把HAL_Delay()放入主循环或ADC DMA回调，否则会破坏后台调度
   * 或10 kHz开环控制节拍。等待期间HRTIM六路PWM保持关闭。
   */
  HAL_Delay(100U);
  OLED_Init();

  /*
   * 固定标签只写一次，主循环后续只更新数字区域，避免整屏清除造成闪烁：
   * IU/IV/IW为三相电流ADC原始码，UV/VW/WU为三相线电压ADC原始码；
   * 第4行在开环/波形模式显示频率和故障，在标定模式显示通道、完成状态和故障。
   */
  OLED_ShowString(1U, 1U, "IU:");
  OLED_ShowString(1U, 9U, "UV:");
  OLED_ShowString(2U, 1U, "IV:");
  OLED_ShowString(2U, 9U, "VW:");
  OLED_ShowString(3U, 1U, "IW:");
  OLED_ShowString(3U, 9U, "WU:");
#if (INV_USER_WORK_MODE == INV_MODE_ADC_CALIBRATION)
  OLED_ShowString(4U, 1U, "C:");
  OLED_ShowString(4U, 5U, "D:");
  OLED_ShowString(4U, 9U, "E:");
#else
  OLED_ShowString(4U, 1U, "F:");
  OLED_ShowString(4U, 5U, "Hz");
  OLED_ShowString(4U, 9U, "E:");
#endif

  /* 从唯一用户配置构造测量模式，并清空DMA序列、标定状态和历史故障。 */
  if (!INV_Measure_Init(&inv_measure_config))
  {
    Error_Handler();
  }
#if (INV_USER_WORK_MODE != INV_MODE_ADC_CALIBRATION)
  inv_limited_frames = 0U;
#endif
  INV_TestDwtInit();

#if (INV_USER_WORK_MODE != INV_MODE_ADC_CALIBRATION)
  /*
   * 5 V母线和2.5 Vrms线电压由开环模块换算成约0.816调制度。
   * 默认60 Hz；后续需要题目第5项时可调用SetFrequency(INV_FREQ_30HZ)，
   * DDS只改变相位步进，不清零当前相位，因此切换时不会产生相位跳变。
   */
  if (!INV_OpenLoop_Init(&inv_open_loop_config))
  {
    INV_AppTrip(INV_FAULT_PARAMETER);
    Error_Handler();
  }

  /* CBSVPWM使用5 V开环母线参数；本阶段仍未配置独立VBUS ADC反馈。 */
  if (CBSVPWM_Init(&inv_svpwm,
                   inv_open_loop_config.modulation_limit,
                   INV_USER_MINIMUM_DC_V) == 0U)
  {
    INV_AppTrip(INV_FAULT_CBSVPWM);
    Error_Handler();
  }
#endif

  /* ADC校准必须在规则组DMA和HRTIM Trigger 2启动之前完成。 */
  inv_state = INV_STATE_ADC_CALIBRATION;
  if (HAL_ADCEx_Calibration_Start(&hadc5, ADC_SINGLE_ENDED) != HAL_OK)
  {
    INV_AppTrip(INV_FAULT_ADC_ERROR);
    Error_Handler();
  }

  if (HAL_ADCEx_Calibration_Start(&hadc4, ADC_SINGLE_ENDED) != HAL_OK)
  {
    INV_AppTrip(INV_FAULT_ADC_ERROR);
    Error_Handler();
  }

  if (HAL_ADCEx_Calibration_Start(&hadc3, ADC_SINGLE_ENDED) != HAL_OK)
  {
    INV_AppTrip(INV_FAULT_ADC_ERROR);
    Error_Handler();
  }

  /*
   * 三个ADC均包含两个规则Rank，DMA长度必须固定为2。先启动ADC5、ADC4，
   * 最后启动ADC3，使三路ADC在Master尚未运行时全部进入等待Trigger 2状态。
   */
  if (HAL_ADC_Start_DMA(&hadc5, (uint32_t *)INV_Adc5Dma, 2U) != HAL_OK)
  {
    INV_AppTrip(INV_FAULT_ADC_ERROR);
    Error_Handler();
  }

  if (HAL_ADC_Start_DMA(&hadc4, (uint32_t *)INV_Adc4Dma, 2U) != HAL_OK)
  {
    INV_AppTrip(INV_FAULT_ADC_ERROR);
    Error_Handler();
  }

  if (HAL_ADC_Start_DMA(&hadc3, (uint32_t *)INV_Adc3Dma, 2U) != HAL_OK)
  {
    INV_AppTrip(INV_FAULT_ADC_ERROR);
    Error_Handler();
  }

  /*
   * 循环DMA默认同时产生Half Transfer和Transfer Complete中断。本测试只在
   * 两个Rank全部搬运完成后处理样本，因此关闭HT，防止读取半更新缓冲区。
   */
  __HAL_DMA_DISABLE_IT(hadc5.DMA_Handle, DMA_IT_HT);
  __HAL_DMA_DISABLE_IT(hadc4.DMA_Handle, DMA_IT_HT);
  __HAL_DMA_DISABLE_IT(hadc3.DMA_Handle, DMA_IT_HT);

  /*
   * 启动Master与Timer C/D/E计数器，Master CMP2通过HRTIM Trigger 2
   * 以10 kHz触发ADC3/4/5；该函数不会开放六路PWM。
   */
  inv_state = INV_STATE_ADC_OFFSET;
  if (INV_HRTIM_StartTimeBase() != HAL_OK)
  {
    INV_AppTrip(INV_FAULT_HRTIM);
    Error_Handler();
  }

#if (INV_USER_WORK_MODE != INV_MODE_PWM_WAVEFORM)
  /*
   * OPEN_LOOP等待自动零点；ADC_CALIBRATION等待ZERO或GAIN样本完成。
   * PWM_WAVEFORM不使用采样值，因此跳过等待并由ADC3 DMA直接提供节拍。
   */
  if (INV_TestWaitForSamplingReady() != HAL_OK)
  {
    Error_Handler();
  }
#endif

  /* 进入READY时物理PWM仍未开放；标定模式会永久停留在安全输出关闭状态。 */
  inv_state = INV_STATE_READY;

#if (INV_USER_WORK_MODE != INV_MODE_ADC_CALIBRATION)
  if ((HAL_GPIO_ReadPin(GPIOB, GPIO_PIN_10) == GPIO_PIN_RESET) ||
      (__HAL_HRTIM_GET_FLAG(&hhrtim1, HRTIM_FLAG_FLT3) != RESET))
  {
    INV_AppTrip(INV_FAULT_HRTIM);
    Error_Handler();
  }
#endif

  /*
   * IWDG在所有阻塞式初始化完成后、PWM开放前启动。此后任一启动失败均不再
   * 刷新看门狗，约500 ms后复位，且复位期间HRTIM输出保持默认关闭。
   */
  MX_IWDG_Init();

#if (INV_USER_WORK_MODE != INV_MODE_ADC_CALIBRATION)
  if (INV_OpenLoopStartOutputs() != HAL_OK)
  {
    INV_AppTrip(INV_FAULT_HRTIM);
    Error_Handler();
  }

  /* 下一完整ADC同步帧开始推进DDS和1 s软启动，不在主循环伪造控制节拍。 */
  inv_state = INV_STATE_SOFT_START;
#else
  /* 标定模式不调用EnableOutputs，用户误把输出开关设为1也不会开放PWM。 */
  INV_HRTIM_DisableOutputs();
#endif

  /* USER CODE END 2 */

  /* Infinite loop */
  /* USER CODE BEGIN WHILE */

  /* VOFA以10 ms为发送周期，即每秒发送约100帧。 */
  uint32_t vofa_tick = HAL_GetTick();

  /* OLED属于100 ms低速后台任务，不参与ADC、HRTIM或故障中断。 */
  uint32_t oled_tick = HAL_GetTick();

  /* 保存上次监督快照，用于判断三路DMA和10 kHz控制是否持续推进。 */
  /*
   * 三个tick分别是VOFA、OLED和安全监督任务的毫秒时间基准；各任务独立计时，
   * 某个低速任务偶尔延迟不会改变另外两个任务的周期判断。
   */
  uint32_t supervisor_tick = HAL_GetTick();

  /*
   * 以下值保存上一次100 ms监督时看到的序列号/心跳。当前值必须与它们不同，
   * 才能证明三路DMA、六通道拼帧以及CBSVPWM控制入口均在持续运行。
   */
#if (INV_USER_WORK_MODE != INV_MODE_PWM_WAVEFORM)
  uint32_t last_adc3_sequence = 0U;
  uint32_t last_adc4_sequence = 0U;
  uint32_t last_adc5_sequence = 0U;
  uint32_t last_fast_heartbeat = 0U;
#endif
#if (INV_USER_WORK_MODE != INV_MODE_ADC_CALIBRATION)
  uint32_t last_control_heartbeat = 0U;
#endif
  while (1)
  {
    /* USER CODE END WHILE */

    /* USER CODE BEGIN 3 */

    /*
     * 每10 ms发送一次VOFA数据。阻塞式USART只允许位于主循环，禁止放入
     * 10 kHz DMA回调，否则约0.78 ms的串口发送会破坏实时控制节拍。
     */
    if ((HAL_GetTick() - vofa_tick) >= INV_USER_VOFA_PERIOD_MS)
    {
      /* 局部副本在短暂关中断期间一次性取得，后续串口发送不再访问ISR共享对象。 */
      INV_Measurement measurement;
#if (INV_USER_WORK_MODE == INV_MODE_ADC_CALIBRATION)
      INV_CalibrationResult calibration;
#else
      INV_OpenLoopOutput reference;
#endif

      vofa_tick = HAL_GetTick();
      INV_Measure_GetSnapshot(&measurement);
#if (INV_USER_WORK_MODE == INV_MODE_ADC_CALIBRATION)
      INV_Measure_GetCalibrationResult(&calibration);

      /* 标定模式CH0~5为六路原始码，CH6为推荐比例，CH7为锁存故障位。 */
      vofa_data[0] = (float)measurement.iu_raw;
      vofa_data[1] = (float)measurement.iv_raw;
      vofa_data[2] = (float)measurement.iw_raw;
      vofa_data[3] = (float)measurement.vuv_raw;
      vofa_data[4] = (float)measurement.vvw_raw;
      vofa_data[5] = (float)measurement.vwu_raw;
      vofa_data[6] = calibration.recommended_scale;
      vofa_data[7] = (float)measurement.fault_bits;
#else
      INV_OpenLoop_GetSnapshot(&reference);

      /* CH0显示当前30/60 Hz单位正弦，用来同时验证DDS节拍和USART数据顺序。 */
      vofa_data[0] = reference.sine_u;

      /* CH1~CH6依次显示三个电流和三路线电压ADC原始码，便于核对Rank。 */
      vofa_data[1] = (float)measurement.iu_raw;
      vofa_data[2] = (float)measurement.iv_raw;
      vofa_data[3] = (float)measurement.iw_raw;
      vofa_data[4] = (float)measurement.vuv_raw;
      vofa_data[5] = (float)measurement.vvw_raw;
      vofa_data[6] = (float)measurement.vwu_raw;
      vofa_data[7] = (float)measurement.fault_bits;
#endif

      if (VOFA_Send(&huart2, vofa_data, VOFA_MAX_CHANNELS) == HAL_OK)
      {
        vofa_tx_ok_count++;
      }
      else
      {
        /* 串口仅用于观测，发送失败计数但不直接触发功率故障。 */
        vofa_tx_error_count++;
      }
    }

    /*
     * 每100 ms进行一次安全监督。任一DMA、同步快照或控制入口停止推进，
     * 均立即关闭逆变输出并停止喂狗；故障锁存后禁止自动重新启动PWM。
     */
    if ((HAL_GetTick() - supervisor_tick) >= INV_USER_SUPERVISOR_PERIOD_MS)
    {
      /* 本轮监督使用同一份完整快照比较所有ADC序列、有效标志和故障位。 */
      INV_Measurement measurement;

      supervisor_tick = HAL_GetTick();
      INV_Measure_GetSnapshot(&measurement);

#if (INV_USER_WORK_MODE == INV_MODE_ADC_CALIBRATION)
      if ((measurement.adc3_sequence == last_adc3_sequence) ||
          (measurement.adc4_sequence == last_adc4_sequence) ||
          (measurement.adc5_sequence == last_adc5_sequence) ||
          (measurement.fast_heartbeat == last_fast_heartbeat))
      {
        INV_AppTrip(INV_FAULT_ADC_SYNC);
      }
      else if (measurement.fault_bits != INV_FAULT_NONE)
      {
        INV_AppTrip(measurement.fault_bits);
      }
      else if (inv_state != INV_STATE_READY)
      {
        INV_AppTrip(INV_FAULT_SYSTEM);
      }
      else if (HAL_IWDG_Refresh(&hiwdg) != HAL_OK)
      {
        INV_AppTrip(INV_FAULT_SYSTEM);
      }
#elif (INV_USER_WORK_MODE == INV_MODE_PWM_WAVEFORM)
      if (inv_control_heartbeat == last_control_heartbeat)
      {
        INV_AppTrip(INV_FAULT_CONTROL_TIMEOUT);
      }
      else if ((HAL_GPIO_ReadPin(GPIOB, GPIO_PIN_10) == GPIO_PIN_RESET) ||
               (__HAL_HRTIM_GET_FLAG(&hhrtim1, HRTIM_FLAG_FLT3) != RESET) ||
               ((inv_state != INV_STATE_SOFT_START) &&
                (inv_state != INV_STATE_RUNNING)))
      {
        INV_AppTrip(INV_FAULT_HRTIM);
      }
      else if (HAL_IWDG_Refresh(&hiwdg) != HAL_OK)
      {
        INV_AppTrip(INV_FAULT_SYSTEM);
      }
#else
      if ((measurement.adc3_sequence == last_adc3_sequence) ||
          (measurement.adc4_sequence == last_adc4_sequence) ||
          (measurement.adc5_sequence == last_adc5_sequence))
      {
        INV_AppTrip(INV_FAULT_ADC_SYNC);
      }
      else if ((measurement.fast_heartbeat == last_fast_heartbeat) ||
               (inv_control_heartbeat == last_control_heartbeat))
      {
        INV_AppTrip(INV_FAULT_CONTROL_TIMEOUT);
      }
      else if (measurement.fault_bits != INV_FAULT_NONE)
      {
        INV_AppTrip(measurement.fault_bits);
      }
      else if ((measurement.valid == 0U) ||
               (HAL_GPIO_ReadPin(GPIOB, GPIO_PIN_10) == GPIO_PIN_RESET) ||
               (__HAL_HRTIM_GET_FLAG(&hhrtim1, HRTIM_FLAG_FLT3) != RESET) ||
               ((inv_state != INV_STATE_SOFT_START) &&
                (inv_state != INV_STATE_RUNNING)))
      {
        INV_AppTrip(INV_FAULT_HRTIM);
      }
      else
      {
        /* 仅在完整安全条件成立时刷新IWDG，禁止在中断中无条件喂狗。 */
        if (HAL_IWDG_Refresh(&hiwdg) != HAL_OK)
        {
          INV_AppTrip(INV_FAULT_SYSTEM);
        }
      }
#endif

#if (INV_USER_WORK_MODE != INV_MODE_PWM_WAVEFORM)
      last_adc3_sequence = measurement.adc3_sequence;
      last_adc4_sequence = measurement.adc4_sequence;
      last_adc5_sequence = measurement.adc5_sequence;
      last_fast_heartbeat = measurement.fast_heartbeat;
#endif
#if (INV_USER_WORK_MODE != INV_MODE_ADC_CALIBRATION)
      last_control_heartbeat = inv_control_heartbeat;
#endif
    }

    /*
     * 每100 ms更新一次OLED。安全监督放在本段之前执行，确保软件I2C传输
     * 不会推迟DMA失步、FLT3或控制心跳异常的检测与安全关断。
     */
    if ((HAL_GetTick() - oled_tick) >= INV_USER_OLED_PERIOD_MS)
    {
      /* OLED只显示此处取得的完整快照，不直接读取DMA正在更新的原始数组。 */
      INV_Measurement measurement;
#if (INV_USER_WORK_MODE == INV_MODE_ADC_CALIBRATION)
      INV_CalibrationResult calibration;
#else
      INV_OpenLoopOutput reference;
#endif

      /* 主循环偶尔延迟时不连续补刷旧帧，而是以当前时刻作为下一周期基准。 */
      oled_tick = HAL_GetTick();

      /*
       * 读取测量模块已经发布的完整六通道快照，禁止直接访问正被DMA改写的
       * INV_Adc3Dma/INV_Adc4Dma/INV_Adc5Dma数组，避免显示半更新数据。
       */
      INV_Measure_GetSnapshot(&measurement);
#if (INV_USER_WORK_MODE == INV_MODE_ADC_CALIBRATION)
      INV_Measure_GetCalibrationResult(&calibration);
#else
      INV_OpenLoop_GetSnapshot(&reference);
#endif

      /*
       * 六路ADC为12位原始码，固定显示4位十进制数；即使前导位为0，
       * 数字区域宽度也保持不变，不需要周期性OLED_Clear()。
       */
      OLED_ShowNum(1U, 4U, measurement.iu_raw, 4U);
      OLED_ShowNum(1U, 12U, measurement.vuv_raw, 4U);
      OLED_ShowNum(2U, 4U, measurement.iv_raw, 4U);
      OLED_ShowNum(2U, 12U, measurement.vvw_raw, 4U);
      OLED_ShowNum(3U, 4U, measurement.iw_raw, 4U);
      OLED_ShowNum(3U, 12U, measurement.vwu_raw, 4U);

      /*
       * 输出频率固定显示两位十进制数；故障位用三位十六进制显示，
       * 可覆盖新增的CSS时钟故障位，正常状态为000且故障后不自动清零。
       */
#if (INV_USER_WORK_MODE == INV_MODE_ADC_CALIBRATION)
      /* D十位=complete、个位=valid；比例的完整浮点值通过Watch/VOFA CH6读取。 */
      OLED_ShowNum(4U, 3U, calibration.channel, 1U);
      OLED_ShowNum(4U, 7U,
                   (uint32_t)calibration.complete * 10U + calibration.valid,
                   2U);
      OLED_ShowHexNum(4U, 11U, measurement.fault_bits, 3U);
#else
      OLED_ShowNum(4U, 3U, reference.frequency_hz, 2U);
      OLED_ShowHexNum(4U, 11U, measurement.fault_bits, 3U);
#endif
    }

  }
  /* USER CODE END 3 */
}

void SystemClock_Config(void)
{
  RCC_OscInitTypeDef RCC_OscInitStruct = {0};
  RCC_ClkInitTypeDef RCC_ClkInitStruct = {0};

  /** Configure the main internal regulator output voltage
  */
  HAL_PWREx_ControlVoltageScaling(PWR_REGULATOR_VOLTAGE_SCALE1_BOOST);

  /** Initializes the RCC Oscillators according to the specified parameters
  * in the RCC_OscInitTypeDef structure.
  */
  RCC_OscInitStruct.OscillatorType = RCC_OSCILLATORTYPE_LSI|RCC_OSCILLATORTYPE_HSE;
  RCC_OscInitStruct.HSEState = RCC_HSE_ON;
  RCC_OscInitStruct.LSIState = RCC_LSI_ON;
  RCC_OscInitStruct.PLL.PLLState = RCC_PLL_ON;
  RCC_OscInitStruct.PLL.PLLSource = RCC_PLLSOURCE_HSE;
  RCC_OscInitStruct.PLL.PLLM = RCC_PLLM_DIV2;
  RCC_OscInitStruct.PLL.PLLN = 85;
  RCC_OscInitStruct.PLL.PLLP = RCC_PLLP_DIV2;
  RCC_OscInitStruct.PLL.PLLQ = RCC_PLLQ_DIV2;
  RCC_OscInitStruct.PLL.PLLR = RCC_PLLR_DIV2;
  if (HAL_RCC_OscConfig(&RCC_OscInitStruct) != HAL_OK)
  {
    Error_Handler();
  }

  /** Initializes the CPU, AHB and APB buses clocks
  */
  RCC_ClkInitStruct.ClockType = RCC_CLOCKTYPE_HCLK|RCC_CLOCKTYPE_SYSCLK
                              |RCC_CLOCKTYPE_PCLK1|RCC_CLOCKTYPE_PCLK2;
  RCC_ClkInitStruct.SYSCLKSource = RCC_SYSCLKSOURCE_PLLCLK;
  RCC_ClkInitStruct.AHBCLKDivider = RCC_SYSCLK_DIV1;
  RCC_ClkInitStruct.APB1CLKDivider = RCC_HCLK_DIV1;
  RCC_ClkInitStruct.APB2CLKDivider = RCC_HCLK_DIV1;

  if (HAL_RCC_ClockConfig(&RCC_ClkInitStruct, FLASH_LATENCY_4) != HAL_OK)
  {
    Error_Handler();
  }

  /** Enables the Clock Security System
  */
  HAL_RCC_EnableCSS();
}

/* USER CODE BEGIN 4 */

/**
 * @brief ADC规则组DMA完整传输回调。
 * @param hadc 发生完整转换事件的ADC句柄。
 *
 * ADC3/4/5均由HRTIM Master CMP2通过HRTIM_TRG2以10 kHz触发。每个ADC
 * 分支先发布自己的DMA序列；只有三个序列全部更新后，测量模块才返回true
 * 和一份完整快照，因此一个PWM周期只会运行一次开环控制。
 *
 * 该函数运行在DMA中断上下文，禁止调用阻塞式USART或HAL_Delay()。
 */
void HAL_ADC_ConvCpltCallback(ADC_HandleTypeDef *hadc)
{
#if (INV_USER_WORK_MODE == INV_MODE_PWM_WAVEFORM)
  /* 波形模式只借用ADC3 TC作为10 kHz节拍，不读取浮空或未标定的ADC值。 */
  if ((hadc != NULL) && (hadc->Instance == ADC3))
  {
    INV_AppRunFastControl(NULL);
  }
#else
  INV_Measurement measurement;
  bool frame_ready = false;

  if ((hadc != NULL) && (hadc->Instance == ADC3))
  {
    frame_ready = INV_Measure_OnAdc3Complete(&measurement);
  }
  else if ((hadc != NULL) && (hadc->Instance == ADC4))
  {
    frame_ready = INV_Measure_OnAdc4Complete(&measurement);
  }
  else if ((hadc != NULL) && (hadc->Instance == ADC5))
  {
    frame_ready = INV_Measure_OnAdc5Complete(&measurement);
  }

  /*
   * 测量模块内部发现失步或贴轨时只负责锁存记录；应用层必须在同一ISR
   * 立即撤销HRTIM输出，不能等待100 ms后台监督才执行关断。
   */
  if (INV_Measure_GetFault() != INV_FAULT_NONE)
  {
    INV_AppTrip(INV_Measure_GetFault());
    return;
  }

#if (INV_USER_WORK_MODE == INV_MODE_OPEN_LOOP)
  if (frame_ready &&
      (measurement.offset_ready != 0U) &&
      (measurement.valid != 0U))
  {
    INV_AppRunFastControl(&measurement);
  }
#else
  /* 标定模式只发布快照和标定结果，绝不进入DDS/CBSVPWM/HRTIM更新。 */
  (void)frame_ready;
#endif
#endif
}

/**
 * @brief ADC及其DMA错误回调，仅处理本测试启用的ADC3/4/5。
 * @param hadc 报告错误的ADC句柄；NULL或ADC1/2不会进入逆变故障处理。
 */
void HAL_ADC_ErrorCallback(ADC_HandleTypeDef *hadc)
{
#if (INV_USER_WORK_MODE == INV_MODE_PWM_WAVEFORM)
  /* ADC3错误最终表现为控制心跳停止，由100 ms监督关断；ADC4/5不参与该模式。 */
  (void)hadc;
#else
  /*
   * ADC3/4/5发生Overrun、DMA或内部状态错误时统一锁存逆变ADC故障。
   * ADC1/2在本测试中没有启动，若以后启用应由各自应用模块单独处理。
   */
  if ((hadc != NULL) &&
      ((hadc->Instance == ADC3) ||
       (hadc->Instance == ADC4) ||
       (hadc->Instance == ADC5)))
  {
    INV_AppTrip(INV_FAULT_ADC_ERROR);
  }
#endif
}

/**
 * @brief ADC模拟看门狗越界回调，仅处理当前逆变使用的ADC3/4/5。
 * @param hadc 触发AWD1或AWD2的ADC句柄。
 * @note 当前IOC阈值仍为0～4095，正常不会触发。完成模拟前端标定并收紧阈值后，
 *       本回调会立即关闭PWM并锁存故障；禁止在此处执行串口或OLED操作。
 */
void HAL_ADC_LevelOutOfWindowCallback(ADC_HandleTypeDef *hadc)
{
#if (INV_USER_WORK_MODE == INV_MODE_OPEN_LOOP)
  if ((hadc != NULL) &&
      ((hadc->Instance == ADC3) ||
       (hadc->Instance == ADC4) ||
       (hadc->Instance == ADC5)))
  {
    INV_AppTrip(INV_FAULT_ADC_WATCHDOG);
  }
#else
  /* 标定可故意接近量程边缘；波形模式不使用ADC值，因此两种模式均忽略AWD。 */
  (void)hadc;
#endif
}

/**
 * @brief HRTIM Fault 3中断回调，在硬件关断完成后锁存软件故障记录。
 * @param hhrtim 触发Fault回调的HRTIM句柄；本工程仅配置HRTIM1。
 */
void HAL_HRTIM_Fault3Callback(HRTIM_HandleTypeDef *hhrtim)
{
  /*
   * Fault 3硬件逻辑已先把HRTIM输出置为Inactive；ISR随后记录故障状态，
   * 供主循环显示和状态机处理。清除中断标志不代表允许自动恢复PWM。
   */
  if ((hhrtim != NULL) && (hhrtim->Instance == HRTIM1))
  {
    INV_AppTrip(INV_FAULT_HRTIM);
  }
}

/* USER CODE END 4 */

void Error_Handler(void)
{
  /* USER CODE BEGIN Error_Handler_Debug */
  /*
   * 不可恢复HAL错误先关闭六路PWM并停止C/D/E计数器。若IWDG已经启动，
   * 停止刷新后由其复位；若尚未启动，则保持输出关闭并等待人工复位。
   */
  INV_HRTIM_DisableOutputs();
  INV_Measure_LatchFault(INV_FAULT_SYSTEM);
  INV_OpenLoop_Reset();
  CBSVPWM_Reset(&inv_svpwm);
  INV_HRTIM_StopInverterTimers();
  inv_state = INV_STATE_FAULT_LATCH;
  __disable_irq();
  while (1)
  {
  }
  /* USER CODE END Error_Handler_Debug */
}
